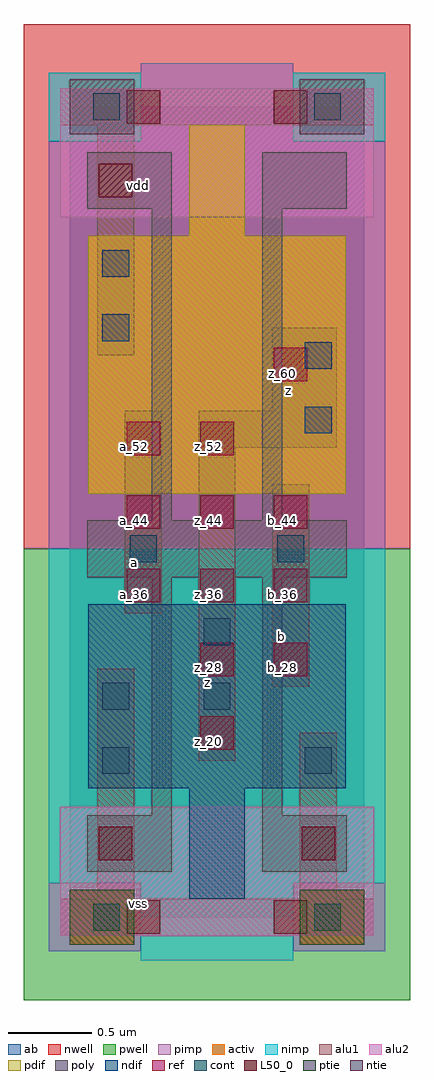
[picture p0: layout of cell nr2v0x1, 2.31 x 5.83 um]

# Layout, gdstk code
import gdstk
lib = gdstk.Library(unit=1e-6, precision=2.5e-09)
def R(c, l, rs):  # rectangles x0, y0, x1, y1
    for r in rs: c.add(gdstk.rectangle(r[:2], r[2:], *l))
def A(c, l, x, y, w, h, nx, ny, dx, dy):  # array of equal rectangles
    R(c, l, [(x+i*dx, y+j*dy, x+i*dx+w, y+j*dy+h) for i in range(nx) for j in range(ny)])
ndif = (3, 0)
pdif = (4, 0)
ntie = (5, 0)
ptie = (6, 0)
ref = (24, 0)
cont = (25, 0)
pwell = (41, 0)
nwell = (42, 0)
activ = (43, 0)
pimp = (44, 0)
nimp = (45, 0)
poly = (46, 0)
alu1 = (49, 0)
L50_0 = (50, 0)
alu2 = (51, 0)
ab = (63, 0)

nr2v0x1 = lib.new_cell('nr2v0x1')
R(nr2v0x1, ndif, [(0.715,0.11,1.045,0.77), (0.11,0.77,1.65,1.87)])
R(nr2v0x1, pdif, [(0.11,2.53,1.65,4.07), (0.715,4.07,1.045,4.73)])
R(nr2v0x1, ntie, [(0,4.675,0.385,5.005), (1.375,4.675,1.76,5.005)])
R(nr2v0x1, ptie, [(0,-0.165,0.385,0.165), (1.375,-0.165,1.76,0.165)])
A(nr2v0x1, ref, 0.34, 1.88, 0.2, 0.2, 3, 2, 0.44, 0.44)
R(nr2v0x1, ref, [(0.78,1,0.98,1.2), (0.78,1.44,0.98,1.64), (1.22,1.44,1.42,1.64), (0.34,2.76,0.54,2.96), (0.78,2.76,0.98,2.96), (1.22,3.2,1.42,3.4)])
R(nr2v0x1, cont, [(0.14,-0.08,0.3,0.08), (1.46,-0.08,1.62,0.08), (0.195,0.855,0.355,1.015), (1.405,0.855,1.565,1.015), (0.195,1.24,0.355,1.4), (0.8,1.24,0.96,1.4), (0.8,1.625,0.96,1.785), (0.36,2.12,0.52,2.28), (1.24,2.12,1.4,2.28), (1.405,2.89,1.565,3.05), (1.405,3.275,1.565,3.435), (0.195,3.44,0.355,3.6), (0.195,3.825,0.355,3.985), (0.14,4.76,0.3,4.92), (1.46,4.76,1.62,4.92)])
R(nr2v0x1, pwell, [(-0.275,-0.495,2.035,2.2)])
R(nr2v0x1, nwell, [(-0.275,2.2,2.035,5.335)])
R(nr2v0x1, activ, [(0,-0.165,0.385,0.165), (1.375,-0.165,1.76,0.165), (0.715,0.11,1.045,0.77), (0.11,0.77,1.65,1.87), (0.11,2.53,1.65,4.07), (0.715,4.07,1.045,4.73), (0,4.675,0.385,5.005), (1.375,4.675,1.76,5.005)])
R(nr2v0x1, pimp, [(-0.125,-0.205,0.425,0.205), (1.335,-0.205,1.885,0.205), (-0.125,2.2,1.885,4.635), (0.425,4.635,1.335,5.1)])
R(nr2v0x1, nimp, [(0.425,-0.26,1.335,0.205), (-0.125,0.205,1.885,2.2), (-0.125,4.635,0.425,5.045), (1.335,4.635,1.885,5.045)])
R(nr2v0x1, poly, [(0.105,0.27,0.61,0.61), (1.15,0.27,1.655,0.61), (0.49,0.61,0.61,2.03), (1.15,0.61,1.27,2.03), (0.105,2.03,0.775,2.37), (0.985,2.03,1.655,2.37), (0.49,2.37,0.61,4.23), (1.15,2.37,1.27,4.23), (0.105,4.23,0.61,4.57), (1.15,4.23,1.655,4.57)])
R(nr2v0x1, alu1, [(-0.055,-0.11,1.815,0.11), (0.165,0.11,0.385,1.485), (1.375,0.11,1.595,1.1), (0.77,0.935,0.99,2.805), (1.21,1.375,1.43,2.585), (0.33,1.815,0.55,3.025), (0.77,2.805,1.595,3.025), (1.21,3.025,1.595,3.52), (0.165,3.355,0.385,4.73), (-0.055,4.73,1.815,4.95)])
R(nr2v0x1, L50_0, [(0.34,-0.1,0.54,0.1), (1.22,-0.1,1.42,0.1), (0.175,0.34,0.375,0.54), (1.385,0.34,1.585,0.54), (0.175,4.3,0.375,4.5), (0.34,4.74,0.54,4.94), (1.22,4.74,1.42,4.94)])
R(nr2v0x1, alu2, [(-0.055,-0.11,1.815,0.66), (-0.055,4.18,1.815,4.95)])
R(nr2v0x1, ab, [(0,0,1.76,4.84)])
nr2v0x1.add(gdstk.Label('b', (1.265,1.6775), layer=49, texttype=0))
nr2v0x1.add(gdstk.Label('z', (0.825,1.4025), layer=49, texttype=0))
nr2v0x1.add(gdstk.Label('a', (0.385,2.1175), layer=49, texttype=0))
nr2v0x1.add(gdstk.Label('z', (1.305,3.1475), layer=49, texttype=0))
nr2v0x1.add(gdstk.Label('vss', (0.4125,0.0825), layer=51, texttype=0))
nr2v0x1.add(gdstk.Label('vdd', (0.4125,4.3725), layer=51, texttype=0))
nr2v0x1.add(gdstk.Label('a_36', (0.39,1.93), layer=24, texttype=0))
nr2v0x1.add(gdstk.Label('a_44', (0.39,2.37), layer=24, texttype=0))
nr2v0x1.add(gdstk.Label('b_36', (1.27,1.93), layer=24, texttype=0))
nr2v0x1.add(gdstk.Label('b_44', (1.27,2.37), layer=24, texttype=0))
nr2v0x1.add(gdstk.Label('z_44', (0.83,2.37), layer=24, texttype=0))
nr2v0x1.add(gdstk.Label('z_52', (0.83,2.81), layer=24, texttype=0))
nr2v0x1.add(gdstk.Label('z_36', (0.83,1.93), layer=24, texttype=0))
nr2v0x1.add(gdstk.Label('z_28', (0.83,1.49), layer=24, texttype=0))
nr2v0x1.add(gdstk.Label('z_20', (0.83,1.05), layer=24, texttype=0))
nr2v0x1.add(gdstk.Label('a_52', (0.39,2.81), layer=24, texttype=0))
nr2v0x1.add(gdstk.Label('z_60', (1.27,3.25), layer=24, texttype=0))
nr2v0x1.add(gdstk.Label('b_28', (1.27,1.49), layer=24, texttype=0))

lib.write_gds('nr2v0x1.gds')
